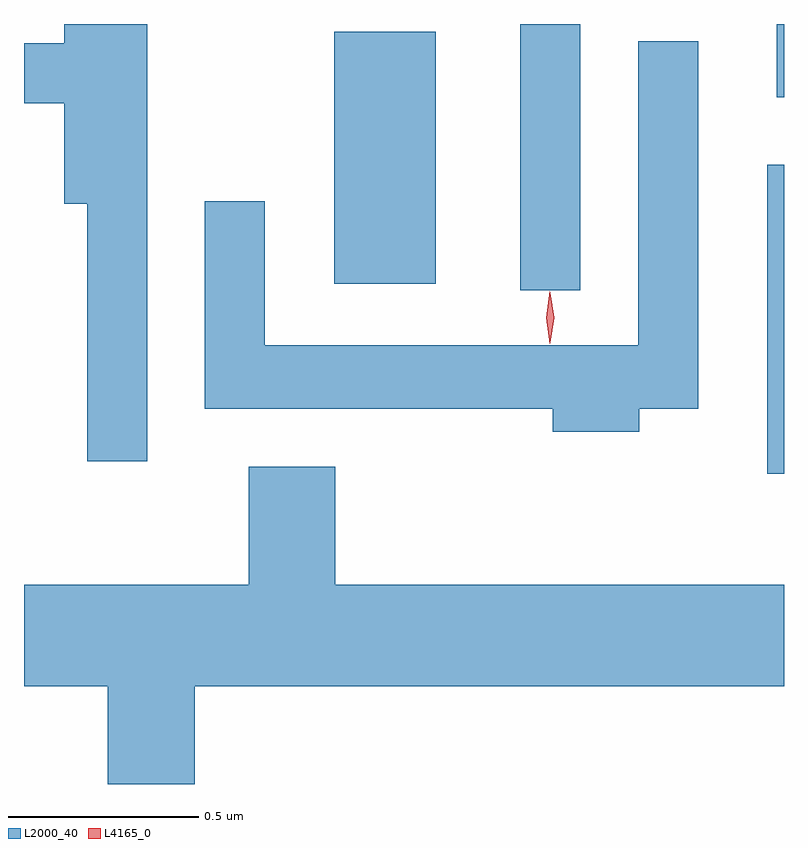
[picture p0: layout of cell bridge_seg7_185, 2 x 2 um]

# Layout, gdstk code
import gdstk
lib = gdstk.Library(unit=1e-6, precision=1e-09)
def R(c, l, rs):  # rectangles x0, y0, x1, y1
    for r in rs: c.add(gdstk.rectangle(r[:2], r[2:], *l))
def P(c, l, *ps):  # polygons
    for p in ps: c.add(gdstk.Polygon(p, *l))
L2000_40 = (2000, 40)
L4165_0 = (4165, 0)

bridge_seg7_185 = lib.new_cell('bridge_seg7_185')
R(bridge_seg7_185, L2000_40, [(1500.676,1699.336,1500.72,1700.149), (1500.026,1699.818,1500.184,1700.519), (1499.536,1699.836,1499.804,1700.499), (1500.701,1700.326,1500.72,1700.519)])
P(bridge_seg7_185, L2000_40, [(1499.044,1700.519),(1498.826,1700.519),(1498.826,1700.469),(1498.72,1700.469),(1498.72,1700.311),(1498.826,1700.311),(1498.826,1700.046),(1498.886,1700.046),(1498.886,1699.368),(1499.044,1699.368)],
  [(1500.339,1699.506),(1500.494,1699.506),(1500.494,1700.473),(1500.336,1700.473),(1500.336,1699.674),(1499.354,1699.674),(1499.354,1700.053),(1499.196,1700.053),(1499.196,1699.506),(1500.111,1699.506),(1500.111,1699.446),(1500.339,1699.446)],
  [(1499.169,1698.776),(1500.72,1698.776),(1500.72,1699.044),(1499.539,1699.044),(1499.539,1699.354),(1499.311,1699.354),(1499.311,1699.044),(1498.72,1699.044),(1498.72,1698.776),(1498.941,1698.776),(1498.941,1698.519),(1499.169,1698.519)])
P(bridge_seg7_185, L4165_0, [(1500.103,1699.677),(1500.094,1699.746),(1500.103,1699.816),(1500.104,1699.816),(1500.104,1699.816),(1500.114,1699.746),(1500.104,1699.677),(1500.104,1699.677)],
  [(1500.105,1699.679),(1500.104,1699.68),(1500.095,1699.746),(1500.104,1699.812),(1500.105,1699.813),(1500.105,1699.812),(1500.115,1699.746),(1500.105,1699.68)])

lib.write_gds('bridge_seg7_185.gds')
